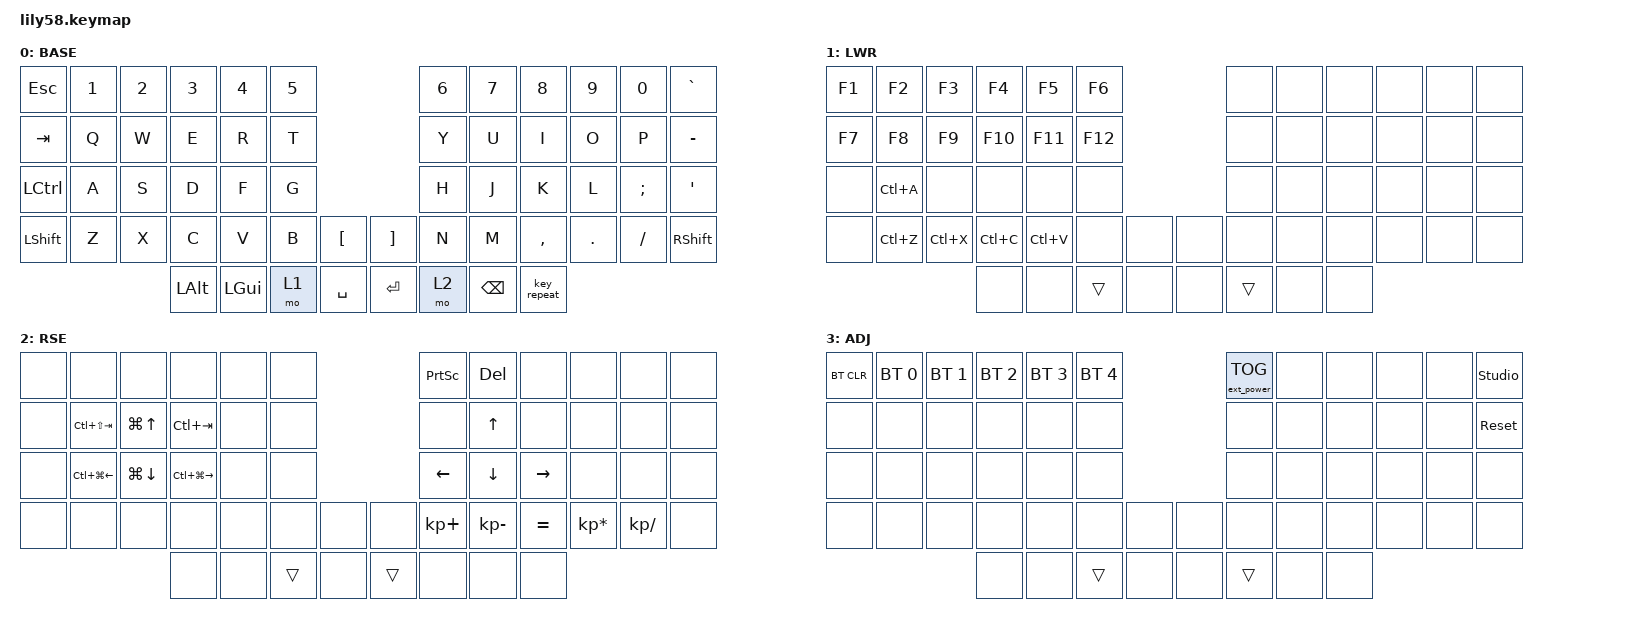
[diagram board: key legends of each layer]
/*
 * Copyright (c) 2020 The ZMK Contributors
 *
 * SPDX-License-Identifier: MIT
 */

#include <behaviors.dtsi>
#include <dt-bindings/zmk/bt.h>
#include <dt-bindings/zmk/ext_power.h>
#include <dt-bindings/zmk/keys.h>

/ {
    conditional_layers {
        compatible = "zmk,conditional-layers";
        tri_layer {
            if-layers = <1 2>;
            then-layer = <3>;
        };
    };

    keymap {
        compatible = "zmk,keymap";

        default_layer {
            display-name = "BASE";
            // ------------------------------------------------------------------------------------------------------------
            // |  ESC  |  1  |  2  |  3   |  4   |  5   |                   |  6   |  7    |  8    |  9   |   0   |   `   |
            // |  TAB  |  Q  |  W  |  E   |  R   |  T   |                   |  Y   |  U    |  I    |  O   |   P   |   -   |
            // |  CTRL |  A  |  S  |  D   |  F   |  G   |                   |  H   |  J    |  K    |  L   |   ;   |   '   |
            // | SHIFT |  Z  |  X  |  C   |  V   |  B   |   "["  |  |  "]"  |  N   |  M    |  ,    |  .   |   /   | SHIFT |
            //                     | ALT  | GUI  | LOWER|  SPACE |  | ENTER | RAISE| BSPC  | GUI   |
            bindings = <
&kp ESC    &kp N1  &kp N2  &kp N3    &kp N4    &kp N5                         &kp N6  &kp N7    &kp N8     &kp N9   &kp N0    &kp GRAVE
&kp TAB    &kp Q   &kp W   &kp E     &kp R     &kp T                          &kp Y   &kp U     &kp I      &kp O    &kp P     &kp MINUS
&kp LCTRL  &kp A   &kp S   &kp D     &kp F     &kp G                          &kp H   &kp J     &kp K      &kp L    &kp SEMI  &kp SQT
&kp LSHFT  &kp Z   &kp X   &kp C     &kp V     &kp B   &kp LBKT     &kp RBKT  &kp N   &kp M     &kp COMMA  &kp DOT  &kp FSLH  &kp RSHFT
                           &kp LALT  &kp LGUI  &mo 1   &kp SPACE    &kp RET   &mo 2   &kp BSPC  &key_repeat
            >;
        };

        lower_layer {
            display-name = "LWR";
            // ------------------------------------------------------------------------------------------------------------
            // |  F1   |  F2 |  F3 |  F4  |  F5  |  F6  |                   |      |       |       |      |       |       |
            // |  F7   |  F8 |  F9 |  F10 |  F11 |  F12 |                   |      |       |       |      |       |       |
            // |       |Sall |     |      |      |      |                   |      |       |       |      |       |       |
            // |       |Undo | Cut | Copy |Paste |      |        |  |        |      |       |       |      |       |       |
            //                     |      |      |      |        |  |        |      |       |       |
            bindings = <
&kp F1     &kp F2     &kp F3     &kp F4     &kp F5     &kp F6                       &none      &none      &none      &none      &none      &none
&kp F7     &kp F8     &kp F9     &kp F10    &kp F11    &kp F12                      &none      &none      &none      &none      &none      &none
&none      &kp LC(A)  &none      &none      &none      &none                        &none      &none      &none      &none      &none      &none
&none      &kp LC(Z)  &kp LC(X)  &kp LC(C)  &kp LC(V)  &none      &none      &none  &none      &none      &none      &none      &none      &none
                                 &none      &none      &trans     &none      &none  &trans     &none      &none
            >;
        };

        raise_layer {
            display-name = "RSE";
            // ------------------------------------------------------------------------------------------------------------
            // |       |     |     |      |      |      |                   | PSCRN |       |       |      |       |       |
            // |       |PrvW |WinUp| NxtW |      |      |                   |       |       |       |      |       |       |
            // |       |PrvD |WinDn| NxtD |      |      |                   |       |   <-  |   v   |  ^   |  ->   |       |
            // |       |     |     |      |      |      |        |  |       |   +   |   -   |   =   |  *   |   /   |       |
            //                     |      |      |      |        |  |       |       |       |       |
            bindings = <
&none  &none        &none        &none        &none  &none                       &kp PSCRN    &kp DELETE    &none      &none            &none         &none
&none  &kp LC(LS(TAB)) &kp LG(UP)   &kp LC(TAB)  &none  &none                       &none        &kp UP        &none      &none            &none         &none
&none  &kp LC(LG(LEFT)) &kp LG(DOWN) &kp LC(LG(RIGHT)) &none  &none                  &kp LEFT     &kp DOWN      &kp RIGHT  &none            &none         &none
&none  &none        &none        &none        &none  &none      &none     &none  &kp KP_PLUS  &kp KP_MINUS  &kp EQUAL  &kp KP_ASTERISK  &kp KP_SLASH  &none
                                 &none        &none  &trans     &none      &trans &none        &none         &none
            >;
        };

        adjust_layer {
            display-name = "ADJ";
            // ------------------------------------------------------------------------------------------------------------
            // | BTCLR | BT1 | BT2 |  BT3 |  BT4 |  BT5 |                   | EP_TOG |      |      |      |       | STUDIO |
            // |       |     |     |      |      |      |                   |        |      |      |      |       | RESET  |
            // |       |     |     |      |      |      |                   |        |      |      |      |       |        |
            // |       |     |     |      |      |      |        |  |       |        |      |      |      |       |        |
            //                     |      |      |      |        |  |       |        |      |      |
            bindings = <
&bt BT_CLR  &bt BT_SEL 0  &bt BT_SEL 1  &bt BT_SEL 2  &bt BT_SEL 3  &bt BT_SEL 4                  &ext_power EP_TOG  &none  &none  &none  &none  &studio_unlock
&none       &none         &none         &none         &none         &none                         &none              &none  &none  &none  &none  &sys_reset
&none       &none         &none         &none         &none         &none                         &none              &none  &none  &none  &none  &none
&none       &none         &none         &none         &none         &none         &none    &none  &none              &none  &none  &none  &none  &none
                                        &none         &none         &trans        &none    &none  &trans             &none  &none
            >;
        };
    };
};
